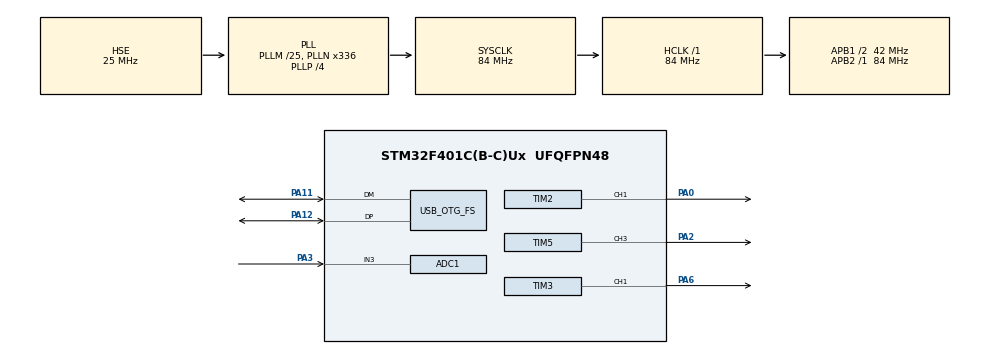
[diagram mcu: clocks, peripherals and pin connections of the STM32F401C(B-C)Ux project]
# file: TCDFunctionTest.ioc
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ADC1.Channel-0\#ChannelRegularConversion=ADC_CHANNEL_3
ADC1.DMAContinuousRequests=ENABLE
ADC1.ExternalTrigConv=ADC_EXTERNALTRIGCONV_T4_CC4
ADC1.NbrOfConversionFlag=1
ADC1.Rank-0\#ChannelRegularConversion=1
ADC1.SamplingTime-0\#ChannelRegularConversion=ADC_SAMPLETIME_3CYCLES
ADC1.master=1
Dma.ADC1.0.Direction=DMA_PERIPH_TO_MEMORY
Dma.ADC1.0.FIFOMode=DMA_FIFOMODE_DISABLE
Dma.ADC1.0.Instance=DMA2_Stream0
Dma.ADC1.0.MemDataAlignment=DMA_MDATAALIGN_HALFWORD
Dma.ADC1.0.MemInc=DMA_MINC_ENABLE
Dma.ADC1.0.Mode=DMA_NORMAL
Dma.ADC1.0.PeriphDataAlignment=DMA_PDATAALIGN_HALFWORD
Dma.ADC1.0.PeriphInc=DMA_PINC_DISABLE
Dma.ADC1.0.Priority=DMA_PRIORITY_LOW
Dma.Request0=ADC1
Mcu.Family=STM32F4
Mcu.Name=STM32F401C(B-C)Ux
Mcu.Package=UFQFPN48
NVIC.DMA2_Stream0_IRQn=true\:0\:0\:false\:false\:true\:false\:true\:true
NVIC.OTG_FS_IRQn=true\:0\:0\:false\:false\:true\:false\:true\:true
NVIC.PriorityGroup=NVIC_PRIORITYGROUP_4
NVIC.TIM2_IRQn=true\:0\:0\:false\:false\:true\:true\:true\:true
PA0-WKUP.Signal=S_TIM2_CH1_ETR
PA11.Mode=Device_Only
PA11.Signal=USB_OTG_FS_DM
PA12.Mode=Device_Only
PA12.Signal=USB_OTG_FS_DP
PA2.Signal=S_TIM5_CH3
PA3.Signal=ADCx_IN3
PA6.Signal=S_TIM3_CH1
PH0\ -\ OSC_IN.Mode=HSE-External-Oscillator
PH0\ -\ OSC_IN.Signal=RCC_OSC_IN
PH1\ -\ OSC_OUT.Mode=HSE-External-Oscillator
PH1\ -\ OSC_OUT.Signal=RCC_OSC_OUT
ProjectManager.HeapSize=0x200
ProjectManager.StackSize=0x400
ProjectManager.TargetToolchain=STM32CubeIDE
RCC.48MHZClocksFreq_Value=48000000
RCC.AHBFreq_Value=84000000
RCC.APB1CLKDivider=RCC_HCLK_DIV2
RCC.APB1Freq_Value=42000000
RCC.APB1TimFreq_Value=84000000
RCC.APB2Freq_Value=84000000
RCC.APB2TimFreq_Value=84000000
RCC.CortexFreq_Value=84000000
RCC.HCLKFreq_Value=84000000
RCC.HSE_VALUE=25000000
RCC.HSI_VALUE=16000000
RCC.LSE_VALUE=32768
RCC.PLLM=25
RCC.PLLN=336
RCC.PLLP=RCC_PLLP_DIV4
RCC.PLLQ=7
RCC.SYSCLKFreq_VALUE=84000000
RCC.SYSCLKSource=RCC_SYSCLKSOURCE_PLLCLK
RCC.VCOOutputFreq_Value=336000000
SH.ADCx_IN3.0=ADC1_IN3,IN3
SH.S_TIM2_CH1_ETR.0=TIM2_CH1,PWM Generation1 CH1
SH.S_TIM3_CH1.0=TIM3_CH1,PWM Generation1 CH1
SH.S_TIM5_CH3.0=TIM5_CH3,PWM Generation3 CH3
TIM2.Channel-PWM\ Generation1\ CH1=TIM_CHANNEL_1
TIM2.OCPolarity_1=TIM_OCPOLARITY_HIGH
TIM2.Period=525000-1
TIM2.Pulse-PWM\ Generation1\ CH1=8820-1
TIM2.TIM_MasterOutputTrigger=TIM_TRGO_ENABLE
TIM2.TIM_MasterSlaveMode=TIM_MASTERSLAVEMODE_ENABLE
TIM3.Channel-PWM\ Generation1\ CH1=TIM_CHANNEL_1
TIM3.Period=168-1
TIM3.Pulse-PWM\ Generation1\ CH1=84-1
TIM4.Channel-PWM\ Generation4\ No\ Output=TIM_CHANNEL_4
TIM4.Period=168-1
TIM4.Pulse-PWM\ Generation4\ No\ Output=42-1
TIM5.Channel-PWM\ Generation3\ CH3=TIM_CHANNEL_3
TIM5.OCPolarity_3=TIM_OCPOLARITY_LOW
TIM5.Period=525000-1
TIM5.Pulse-PWM\ Generation3\ CH3=8347-1
TIM5.TIM_MasterSlaveMode=TIM_MASTERSLAVEMODE_ENABLE
USB_DEVICE.CLASS_NAME_FS=CDC
USB_DEVICE.VirtualMode=Cdc
USB_DEVICE.VirtualModeFS=Cdc_FS
USB_OTG_FS.VirtualMode=Device_Only
VP_TIM2_VS_ClockSourceINT.Mode=Internal
VP_TIM3_VS_ClockSourceINT.Mode=Internal
VP_TIM4_VS_ClockSourceINT.Mode=Internal
VP_TIM4_VS_no_output4.Mode=PWM Generation4 No Output
VP_TIM5_VS_ClockSourceINT.Mode=Internal
VP_TIM5_VS_ClockSourceITR.Mode=TriggerSource_ITR0
VP_TIM5_VS_ControllerModeTrigger.Mode=Trigger Mode
VP_USB_DEVICE_VS_USB_DEVICE_CDC_FS.Mode=CDC_FS
board=custom

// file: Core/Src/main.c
/* USER CODE BEGIN Header */
/**
  ******************************************************************************
  * @file           : main.c
  * @brief          : Main program body
  ******************************************************************************
  * @attention
  *
  * Copyright (c) 2024 STMicroelectronics.
  * All rights reserved.
  *
  * This software is licensed under terms that can be found in the LICENSE file
  * in the root directory of this software component.
  * If no LICENSE file comes with this software, it is provided AS-IS.
  *
  ******************************************************************************
  */
/* USER CODE END Header */
#include "main.h"
#include "usb_device.h"

/* USER CODE BEGIN Includes */
#include "string.h"

/* USER CODE END Includes */

/* USER CODE BEGIN PD */
#define HEADER_SIZE 200//this is just a big enough number, to accomodate all the elements, will have to calculate the exact value later
#define FOOTER_SIZE 2 //this is not really needed but just added it for uniformity
#define CCD_PIXEL_BUFFER_SIZE (6000) // Adjust as needed for header, data, and footer

/* USER CODE END PD */

ADC_HandleTypeDef hadc1;
DMA_HandleTypeDef hdma_adc1;

TIM_HandleTypeDef htim2;
TIM_HandleTypeDef htim3;
TIM_HandleTypeDef htim4;
TIM_HandleTypeDef htim5;

/* USER CODE BEGIN PV */

// Global variables for header values, these are all from the image sent
char VersionNo[4] = "DCAM";
int MajorVersion = 1;
int FileFormatNo = 0;
int CustomizationNo = 1;
int CameraType = 1;  // Assuming 1: Line scanner camera
int DataInfo[5] = {0};  // {SizeX, SizeY, DataSet, DataByte}
int MeasureMode = 1;  // Assuming 1: Line Scanning Mode
int SheetData = 0;  // Assuming 0: Image data
int Profile = 1;  // Assuming 1: Show
char ScaleUnitChars[20] = "ADU";  // Default scale unit characters

//Test Buffer
uint16_t TestBuffer1[300] = {2387, 2151, 2067, 1324, 1056, 2498, 2401, 1869, 1786, 2388, 1785, 1758, 1449, 1496, 1499, 1029, 1707, 2099, 1147, 2440, 1925, 2357, 2081, 1354, 2088, 2023, 2342, 1083, 1418, 2465, 2103, 1068, 1324, 1242, 2147, 1934, 2451, 2318, 1143, 1005, 1295, 1554, 2060, 2497, 2244, 1067, 2118, 2070, 1558, 2298, 1332, 1405, 1235, 1349, 1295, 1643, 1274, 1005, 1617, 1329, 2177, 2066, 2150, 1655, 1459, 2080, 1860, 1848, 1527, 1496, 1626, 2251, 1762, 1955, 1166, 1831, 1066, 1192, 1966, 2180, 1322, 2465, 1515, 2353, 1626, 1934, 1986, 2034, 1030, 1749, 1625, 1993, 2296, 2243, 1363, 2259, 1000, 1351, 1276, 1411, 1233, 1119, 1795, 1919, 2191, 2232, 1575, 2364, 1569, 2058, 1805, 1583, 1703, 1476, 1979, 2076, 1211, 1425, 1688, 2329, 1343, 1656, 1890, 1675, 1692, 1568, 2234, 1121, 2415, 2177, 2205, 1808, 1475, 1223, 1575, 1713, 1372, 2247, 1565, 1867, 1665, 1860, 1675, 1447, 1927, 1041, 2211, 1335, 2287,
        1266, 1964, 2299, 1576, 1837, 2377, 1567, 1722, 1177, 1089, 1948, 2019, 1465, 2242, 1288, 2287, 2412, 1054, 1896, 1331, 1482, 1338, 1890, 1352, 1528, 1058, 1597, 1201, 2221, 1063, 1727, 1239, 1011, 1320, 1545, 1965, 1564, 2266, 1553, 2382, 2294, 1555, 1370, 1211, 1201, 1369, 1228, 1460, 1488, 2106, 1176, 1861, 1387, 1799, 1847, 1695, 2176, 2258, 1413, 2488, 2063, 1160, 1328, 2266, 2257, 1286, 2402, 1995, 1398, 1353, 1351, 1971, 1646, 2457, 1690, 2054, 2464, 1487, 1223, 2314, 2303, 1198, 2299, 2032, 2094, 1295, 2190, 2080, 2282, 2174, 2472, 2403, 2271, 1594, 1379, 1875, 1847, 1980, 1235, 1980, 1310, 1520, 2159, 2175, 1145, 1534, 1654, 1102, 2063, 2055, 1519, 1852, 1417, 1162, 2147, 1608, 2342, 1712, 1543, 1615, 1818, 1048, 2462, 1684, 2022, 1820, 1470, 1868, 1762, 2257, 1826, 1683, 1630, 1730, 1028, 1178, 1507, 1041, 1847, 1439, 1036, 2477, 2276, 1683, 2144, 2043, 1237, 1445, 2192, 2348, 1750};

uint16_t TestBuffer2[300] = {1097, 1785, 1266, 2192, 1686, 1095, 2440, 2194, 2311, 2031, 1371, 1921, 1276, 2123, 2225, 2135, 2284, 1833, 1943, 2343, 2426, 1091, 2320, 1119, 1763, 1409, 1062, 1258, 1448, 1732, 1134, 1139, 1883, 1719, 1229, 2039, 1448, 2227, 2240, 1490, 1965, 1029, 1459, 1956, 1986, 2250, 2317, 2095, 2401, 1315, 2311, 1793, 2373, 2114, 2039, 2455, 1673, 2339, 1271, 1235, 1217, 1766, 1046, 1968, 2286, 1819, 2268, 1734, 2378, 2194, 2360, 2114, 1907, 2055, 1680, 2089, 2400, 2058, 1278, 2181, 1416, 2353, 1049, 1811, 2151, 1267, 1707, 2036, 2412, 2385, 2172, 1266, 2024, 2444, 2144, 1900, 1085, 2290, 2154, 1154, 1402, 1916, 1597, 1675, 2390, 1231, 1384, 1607, 1022, 1308, 2153, 1852, 2429, 1974, 2072, 1599, 1521, 1919, 2436, 1956, 1008, 1356, 1036, 1435, 2225, 1914, 1602, 2318, 2195, 1950, 1639, 2172, 2208, 1161, 1731, 1765, 1636, 2379, 2355, 1491, 1405, 1974, 1335, 1907, 1997, 1773, 2293, 2374, 1668,
    2223, 1320, 2134, 1289, 1723, 2411, 2175, 1856, 1737, 1675, 1141, 1547, 1516, 1924, 1377, 1462, 1914, 1823, 2128, 1510, 1388, 2329, 1166, 1947, 1333, 2177, 1757, 1336, 1571, 1412, 1351, 2159, 1284, 1353, 2141, 2351, 2103, 1243, 1413, 1832, 1592, 2308, 1912, 2215, 1216, 1773, 2012, 2169, 2187, 1520, 1927, 1154, 2389, 1161, 2096, 1224, 2330, 1023, 1348, 2133, 1011, 1805, 1068, 1675, 2283, 1060, 1394, 1537, 1397, 2291, 1094, 1397, 2413, 1171, 1461, 2170, 1493, 1532, 1209, 1506, 1132, 1017, 1717, 1227, 1333, 1498, 1446, 1289, 1089, 1323, 1065, 2279, 2086, 1969, 2211, 1599, 1471, 2132, 2165, 1764, 1554, 1475, 2399, 2317, 1063, 2206, 1686, 2155, 1985, 1574, 2099, 1632, 1071, 1202, 1986, 1481, 1694, 1199, 1407, 2302, 2036, 1097, 1780, 2393, 2150, 1072, 1277, 1464, 1837, 1467, 1215, 1052, 2351, 1615, 1663, 1993, 1939, 2237, 1240, 1782, 1644, 2167, 1617, 1099, 1056, 1858, 2180, 1445, 1155, 2036, 2215};

uint16_t TestBuffer3[300] = {2319, 2225, 1960, 1253, 1731, 1797, 2408, 1608, 1322, 1301, 1230, 2370, 1410, 2095, 2243, 2071, 1511, 2274, 2269, 1112, 1138, 1359, 1511, 2291, 1618, 1373, 1809, 1305, 1957, 1716, 1353, 1012, 1014, 2166, 1882, 1236, 2010, 2205, 2282, 2155, 1255, 2315, 1444, 1292, 2327, 1180, 2494, 2175, 2396, 2069, 1626, 1829, 2454, 1805, 1030, 1933, 1365, 2087, 1502, 2388, 1928, 2095, 1769, 1976, 1679, 2000, 1779, 1749, 2348, 2251, 2402, 1151, 1891, 1163, 1327, 2223, 2060, 1248, 2336, 1006, 1005, 2315, 2358, 1001, 2433, 1620, 2133, 1726, 2093, 2097, 1280, 1241, 2218, 2379, 1784, 1892, 1320, 1100, 1968, 2353, 1185, 1272, 1243, 2365, 1750, 2058, 1310, 1329, 1415, 2176, 2397, 2453, 2099, 2245, 2217, 1361, 2047, 1091, 2175, 1005, 1437, 1317, 1652, 2157, 1422, 2087, 2316, 2426, 2130, 2220, 1808, 1618, 1171, 2158, 1385, 1850, 1628, 1159, 1574, 2455, 1475, 2303, 1425, 1395, 1724, 1440, 1999, 2001, 1408,
        1097, 1261, 2461, 2110, 1285, 2449, 2119, 2476, 2233, 1076, 1909, 1628, 1829, 1109, 1390, 1858, 1646, 1448, 2421, 2436, 2069, 2365, 2414, 1816, 1591, 1046, 1090, 2184, 2393, 2343, 2358, 1436, 1280, 1859, 1701, 1737, 1194, 1147, 1003, 2339, 2305, 1665, 1759, 1918, 1008, 1052, 2097, 2329, 1061, 1444, 1571, 1392, 1166, 1235, 1907, 1866, 2174, 1516, 1622, 1991, 2165, 1403, 2003, 1686, 2335, 2187, 1921, 2263, 2111, 1641, 2042, 2500, 2006, 1538, 2399, 2060, 2244, 1418, 1007, 2121, 2037, 1716, 1103, 2445, 2192, 1377, 1282, 1799, 1584, 1196, 2006, 1109, 2314, 1553, 1245, 1209, 1548, 1660, 2453, 1617, 1366, 1469, 1490, 2106, 2019, 2467, 1702, 1660, 1899, 1537, 2114, 1048, 1184, 1916, 1599, 1187, 1486, 2473, 2202, 1571, 1949, 1792, 1229, 1455, 1989, 1616, 1137, 2339, 2328, 1383, 1305, 2260, 2472, 2088, 2036, 1938, 1204, 1997, 1056, 2297, 1080, 1037, 1835, 2242, 2089, 1131, 2135, 1011, 1803, 1566, 1650};
// Buffers
char header[HEADER_SIZE];
char footer[FOOTER_SIZE];

volatile uint16_t CCDPixelBuffer[CCD_PIXEL_BUFFER_SIZE];
volatile uint16_t headertest[200];
//this is the variable to initiate the dma
volatile uint8_t start_command_received = 0;
volatile uint8_t continuous_enabled = 0;
int experiment = 1;

/* USER CODE END PV */

void SystemClock_Config(void);
static void MX_GPIO_Init(void);
static void MX_DMA_Init(void);
static void MX_TIM2_Init(void);
static void MX_TIM3_Init(void);
static void MX_TIM4_Init(void);
static void MX_TIM5_Init(void);
static void MX_ADC1_Init(void);
/* USER CODE BEGIN PFP */
void encodeData(uint16_t* data_buffer, uint32_t data_size);
void InitializeHeaderFooter();
void CDCReceiveCallback(uint8_t* Buf, uint32_t Len);
void HAL_ADC_ConvCpltCallback(ADC_HandleTypeDef* hadc);
void Configure_SH_Signal(uint32_t period, uint32_t pulse);
void Configure_ICG_Signal(uint32_t period, uint32_t pulse);
void Configure_MasterClock_Signal(uint32_t period, uint32_t pulse);
void CalculateAndSetIntegrationTime(uint32_t integration_time_us);

/* USER CODE END PFP */

int main(void)
{

  /* USER CODE BEGIN 1 */
	//all the main implementations are after line 547 and in the main function

  /* USER CODE END 1 */

  /* MCU Configuration--------------------------------------------------------*/

  /* Reset of all peripherals, Initializes the Flash interface and the Systick. */
  HAL_Init();

  /* USER CODE BEGIN Init */
  InitializeHeaderFooter();

  /* USER CODE END Init */

  /* Configure the system clock */
  SystemClock_Config();

  /* Initialize all configured peripherals */
  MX_GPIO_Init();
  MX_DMA_Init();
  MX_TIM2_Init();
  MX_TIM3_Init();
  MX_TIM4_Init();
  MX_TIM5_Init();
  MX_USB_DEVICE_Init();
  MX_ADC1_Init();
  /* USER CODE BEGIN 2 */
//  HAL_TIM_PWM_Start(&htim2, TIM_CHANNEL_1); //ICG
//  __HAL_TIM_SET_COUNTER(&htim2, 66);// 600ns delay
////  HAL_TIM_PWM_Start(&htim3, TIM_CHANNEL_1); //fM
//  HAL_TIM_PWM_Start(&htim4, TIM_CHANNEL_4); //ADC
//  HAL_TIM_PWM_Start(&htim5, TIM_CHANNEL_3); //SH

  if (!start_command_received) {
  CDC_Transmit_FS("Target Ready\r\n",14);
  HAL_Delay(1000);}

//  HAL_TIM_Base_Start_IT(&htim3);

  /* USER CODE END 2 */

  /* Infinite loop */
  while (1)
  {

  }
}

void SystemClock_Config(void)
{
  RCC_OscInitTypeDef RCC_OscInitStruct = {0};
  RCC_ClkInitTypeDef RCC_ClkInitStruct = {0};

  /** Configure the main internal regulator output voltage
  */
  __HAL_RCC_PWR_CLK_ENABLE();
  __HAL_PWR_VOLTAGESCALING_CONFIG(PWR_REGULATOR_VOLTAGE_SCALE2);

  /** Initializes the RCC Oscillators according to the specified parameters
  * in the RCC_OscInitTypeDef structure.
  */
  RCC_OscInitStruct.OscillatorType = RCC_OSCILLATORTYPE_HSE;
  RCC_OscInitStruct.HSEState = RCC_HSE_ON;
  RCC_OscInitStruct.PLL.PLLState = RCC_PLL_ON;
  RCC_OscInitStruct.PLL.PLLSource = RCC_PLLSOURCE_HSE;
  RCC_OscInitStruct.PLL.PLLM = 25;
  RCC_OscInitStruct.PLL.PLLN = 336;
  RCC_OscInitStruct.PLL.PLLP = RCC_PLLP_DIV4;
  RCC_OscInitStruct.PLL.PLLQ = 7;
  if (HAL_RCC_OscConfig(&RCC_OscInitStruct) != HAL_OK)
  {
    Error_Handler();
  }

  /** Initializes the CPU, AHB and APB buses clocks
  */
  RCC_ClkInitStruct.ClockType = RCC_CLOCKTYPE_HCLK|RCC_CLOCKTYPE_SYSCLK
                              |RCC_CLOCKTYPE_PCLK1|RCC_CLOCKTYPE_PCLK2;
  RCC_ClkInitStruct.SYSCLKSource = RCC_SYSCLKSOURCE_PLLCLK;
  RCC_ClkInitStruct.AHBCLKDivider = RCC_SYSCLK_DIV1;
  RCC_ClkInitStruct.APB1CLKDivider = RCC_HCLK_DIV2;
  RCC_ClkInitStruct.APB2CLKDivider = RCC_HCLK_DIV1;

  if (HAL_RCC_ClockConfig(&RCC_ClkInitStruct, FLASH_LATENCY_2) != HAL_OK)
  {
    Error_Handler();
  }
}

static void MX_ADC1_Init(void)
{

  ADC_ChannelConfTypeDef sConfig = {0};

  /** Configure the global features of the ADC (Clock, Resolution, Data Alignment and number of conversion)
  */
  hadc1.Instance = ADC1;
  hadc1.Init.ClockPrescaler = ADC_CLOCK_SYNC_PCLK_DIV4;
  hadc1.Init.Resolution = ADC_RESOLUTION_12B;
  hadc1.Init.ScanConvMode = DISABLE;
  hadc1.Init.ContinuousConvMode = DISABLE;
  hadc1.Init.DiscontinuousConvMode = DISABLE;
  hadc1.Init.ExternalTrigConvEdge = ADC_EXTERNALTRIGCONVEDGE_RISING;
  hadc1.Init.ExternalTrigConv = ADC_EXTERNALTRIGCONV_T4_CC4;
  hadc1.Init.DataAlign = ADC_DATAALIGN_RIGHT;
  hadc1.Init.NbrOfConversion = 1;
  hadc1.Init.DMAContinuousRequests = ENABLE;
  hadc1.Init.EOCSelection = ADC_EOC_SINGLE_CONV;
  if (HAL_ADC_Init(&hadc1) != HAL_OK)
  {
    Error_Handler();
  }

  /** Configure for the selected ADC regular channel its corresponding rank in the sequencer and its sample time.
  */
  sConfig.Channel = ADC_CHANNEL_3;
  sConfig.Rank = 1;
  sConfig.SamplingTime = ADC_SAMPLETIME_3CYCLES;
  if (HAL_ADC_ConfigChannel(&hadc1, &sConfig) != HAL_OK)
  {
    Error_Handler();
  }

}

static void MX_TIM2_Init(void)
{

  TIM_ClockConfigTypeDef sClockSourceConfig = {0};
  TIM_MasterConfigTypeDef sMasterConfig = {0};
  TIM_OC_InitTypeDef sConfigOC = {0};

  htim2.Instance = TIM2;
  htim2.Init.Prescaler = 0;
  htim2.Init.CounterMode = TIM_COUNTERMODE_UP;
  htim2.Init.Period = 525000-1;
  htim2.Init.ClockDivision = TIM_CLOCKDIVISION_DIV1;
  htim2.Init.AutoReloadPreload = TIM_AUTORELOAD_PRELOAD_DISABLE;
  if (HAL_TIM_Base_Init(&htim2) != HAL_OK)
  {
    Error_Handler();
  }
  sClockSourceConfig.ClockSource = TIM_CLOCKSOURCE_INTERNAL;
  if (HAL_TIM_ConfigClockSource(&htim2, &sClockSourceConfig) != HAL_OK)
  {
    Error_Handler();
  }
  if (HAL_TIM_PWM_Init(&htim2) != HAL_OK)
  {
    Error_Handler();
  }
  sMasterConfig.MasterOutputTrigger = TIM_TRGO_ENABLE;
  sMasterConfig.MasterSlaveMode = TIM_MASTERSLAVEMODE_ENABLE;
  if (HAL_TIMEx_MasterConfigSynchronization(&htim2, &sMasterConfig) != HAL_OK)
  {
    Error_Handler();
  }
  sConfigOC.OCMode = TIM_OCMODE_PWM1;
  sConfigOC.Pulse = 8820-1;
  sConfigOC.OCPolarity = TIM_OCPOLARITY_HIGH;
  sConfigOC.OCFastMode = TIM_OCFAST_DISABLE;
  if (HAL_TIM_PWM_ConfigChannel(&htim2, &sConfigOC, TIM_CHANNEL_1) != HAL_OK)
  {
    Error_Handler();
  }
  HAL_TIM_MspPostInit(&htim2);

}

static void MX_TIM3_Init(void)
{

  TIM_ClockConfigTypeDef sClockSourceConfig = {0};
  TIM_MasterConfigTypeDef sMasterConfig = {0};
  TIM_OC_InitTypeDef sConfigOC = {0};

  htim3.Instance = TIM3;
  htim3.Init.Prescaler = 0;
  htim3.Init.CounterMode = TIM_COUNTERMODE_UP;
  htim3.Init.Period = 168-1;
  htim3.Init.ClockDivision = TIM_CLOCKDIVISION_DIV1;
  htim3.Init.AutoReloadPreload = TIM_AUTORELOAD_PRELOAD_DISABLE;
  if (HAL_TIM_Base_Init(&htim3) != HAL_OK)
  {
    Error_Handler();
  }
  sClockSourceConfig.ClockSource = TIM_CLOCKSOURCE_INTERNAL;
  if (HAL_TIM_ConfigClockSource(&htim3, &sClockSourceConfig) != HAL_OK)
  {
    Error_Handler();
  }
  if (HAL_TIM_PWM_Init(&htim3) != HAL_OK)
  {
    Error_Handler();
  }
  sMasterConfig.MasterOutputTrigger = TIM_TRGO_RESET;
  sMasterConfig.MasterSlaveMode = TIM_MASTERSLAVEMODE_DISABLE;
  if (HAL_TIMEx_MasterConfigSynchronization(&htim3, &sMasterConfig) != HAL_OK)
  {
    Error_Handler();
  }
  sConfigOC.OCMode = TIM_OCMODE_PWM1;
  sConfigOC.Pulse = 84-1;
  sConfigOC.OCPolarity = TIM_OCPOLARITY_HIGH;
  sConfigOC.OCFastMode = TIM_OCFAST_DISABLE;
  if (HAL_TIM_PWM_ConfigChannel(&htim3, &sConfigOC, TIM_CHANNEL_1) != HAL_OK)
  {
    Error_Handler();
  }
  HAL_TIM_MspPostInit(&htim3);

}

static void MX_TIM4_Init(void)
{

  TIM_ClockConfigTypeDef sClockSourceConfig = {0};
  TIM_MasterConfigTypeDef sMasterConfig = {0};
  TIM_OC_InitTypeDef sConfigOC = {0};

  htim4.Instance = TIM4;
  htim4.Init.Prescaler = 0;
  htim4.Init.CounterMode = TIM_COUNTERMODE_UP;
  htim4.Init.Period = 168-1;
  htim4.Init.ClockDivision = TIM_CLOCKDIVISION_DIV1;
  htim4.Init.AutoReloadPreload = TIM_AUTORELOAD_PRELOAD_DISABLE;
  if (HAL_TIM_Base_Init(&htim4) != HAL_OK)
  {
    Error_Handler();
  }
  sClockSourceConfig.ClockSource = TIM_CLOCKSOURCE_INTERNAL;
  if (HAL_TIM_ConfigClockSource(&htim4, &sClockSourceConfig) != HAL_OK)
  {
    Error_Handler();
  }
  if (HAL_TIM_PWM_Init(&htim4) != HAL_OK)
  {
    Error_Handler();
  }
  sMasterConfig.MasterOutputTrigger = TIM_TRGO_RESET;
  sMasterConfig.MasterSlaveMode = TIM_MASTERSLAVEMODE_DISABLE;
  if (HAL_TIMEx_MasterConfigSynchronization(&htim4, &sMasterConfig) != HAL_OK)
  {
    Error_Handler();
  }
  sConfigOC.OCMode = TIM_OCMODE_PWM1;
  sConfigOC.Pulse = 42-1;
  sConfigOC.OCPolarity = TIM_OCPOLARITY_HIGH;
  sConfigOC.OCFastMode = TIM_OCFAST_DISABLE;
  if (HAL_TIM_PWM_ConfigChannel(&htim4, &sConfigOC, TIM_CHANNEL_4) != HAL_OK)
  {
    Error_Handler();
  }

}

static void MX_TIM5_Init(void)
{

  TIM_ClockConfigTypeDef sClockSourceConfig = {0};
  TIM_SlaveConfigTypeDef sSlaveConfig = {0};
  TIM_MasterConfigTypeDef sMasterConfig = {0};
  TIM_OC_InitTypeDef sConfigOC = {0};

  htim5.Instance = TIM5;
  htim5.Init.Prescaler = 0;
  htim5.Init.CounterMode = TIM_COUNTERMODE_UP;
  htim5.Init.Period = 525000-1;
  htim5.Init.ClockDivision = TIM_CLOCKDIVISION_DIV1;
  htim5.Init.AutoReloadPreload = TIM_AUTORELOAD_PRELOAD_DISABLE;
  if (HAL_TIM_Base_Init(&htim5) != HAL_OK)
  {
    Error_Handler();
  }
  sClockSourceConfig.ClockSource = TIM_CLOCKSOURCE_INTERNAL;
  if (HAL_TIM_ConfigClockSource(&htim5, &sClockSourceConfig) != HAL_OK)
  {
    Error_Handler();
  }
  if (HAL_TIM_PWM_Init(&htim5) != HAL_OK)
  {
    Error_Handler();
  }
  sSlaveConfig.SlaveMode = TIM_SLAVEMODE_TRIGGER;
  sSlaveConfig.InputTrigger = TIM_TS_ITR0;
  if (HAL_TIM_SlaveConfigSynchro(&htim5, &sSlaveConfig) != HAL_OK)
  {
    Error_Handler();
  }
  sMasterConfig.MasterOutputTrigger = TIM_TRGO_RESET;
  sMasterConfig.MasterSlaveMode = TIM_MASTERSLAVEMODE_ENABLE;
  if (HAL_TIMEx_MasterConfigSynchronization(&htim5, &sMasterConfig) != HAL_OK)
  {
    Error_Handler();
  }
  sConfigOC.OCMode = TIM_OCMODE_PWM1;
  sConfigOC.Pulse = 8347-1;
  sConfigOC.OCPolarity = TIM_OCPOLARITY_LOW;
  sConfigOC.OCFastMode = TIM_OCFAST_DISABLE;
  if (HAL_TIM_PWM_ConfigChannel(&htim5, &sConfigOC, TIM_CHANNEL_3) != HAL_OK)
  {
    Error_Handler();
  }
  HAL_TIM_MspPostInit(&htim5);

}

static void MX_DMA_Init(void)
{

  /* DMA controller clock enable */
  __HAL_RCC_DMA2_CLK_ENABLE();

  /* DMA interrupt init */
  /* DMA2_Stream0_IRQn interrupt configuration */
  HAL_NVIC_SetPriority(DMA2_Stream0_IRQn, 0, 0);
  HAL_NVIC_EnableIRQ(DMA2_Stream0_IRQn);

}

static void MX_GPIO_Init(void)
{

  /* GPIO Ports Clock Enable */
  __HAL_RCC_GPIOH_CLK_ENABLE();
  __HAL_RCC_GPIOA_CLK_ENABLE();

}

/* USER CODE BEGIN 4 */

//when the stm receives anything, it checks if it is the string start

void CDCReceiveCallback(uint8_t* Buf, uint32_t Len) {
    // Ensure the buffer is null-terminated
    Buf[Len] = '\0';

    // Check for the "start" command
    if (strncmp((char*)Buf, "start", 5) == 0) {
    	CDC_Transmit_FS((uint8_t*)TestBuffer, 600);
    }
}

void CalculateAndSetIntegrationTime(uint32_t integration_time_us) {
    // Calculate the SH period (T_SH) in timer ticks
    uint32_t T_SH_ticks = (84 * integration_time_us);  // Convert microseconds to timer ticks

    // Minimum SH pulse width is 1 µs, which translates to 84 timer ticks at 84 MHz
    uint32_t SH_pulse_ticks = 84;

    // Configure the SH signal with the calculated period and pulse width
    Configure_SH_Signal(T_SH_ticks, SH_pulse_ticks);
}

void InitializeHeaderFooter(void) {
    // Construct the header
    snprintf(header, HEADER_SIZE,
        "Version: %s\nMajor: %d\nFileFormat: %d\nCustomization: %d\nCameraType: %d\n"
        "SizeX: %d\nSizeY: %d\nDataSet: %d\nDataByte: %d\nMeasureMode: %d\nSheetData: %d\n"
        "Profile: %d\nScaleUnit: %s\n",
        VersionNo, MajorVersion, FileFormatNo, CustomizationNo, CameraType,
        DataInfo[0], DataInfo[1], DataInfo[2], DataInfo[3],
        MeasureMode, SheetData, Profile, ScaleUnitChars);

    // Construct the footer (this example just uses a simple footer, customize as needed)
    snprintf(footer, FOOTER_SIZE, "\n");
}

// Function to shift data and add header and footer
void encodeData(uint16_t* data_buffer, uint32_t data_size) {

	// Copy the header to the start of the buffer
	    memcpy((void*)CCDPixelBuffer, (const void*)header, HEADER_SIZE);

	    // Copy the footer to the end of the data
	    memcpy((void*)&CCDPixelBuffer[CCD_PIXEL_BUFFER_SIZE - FOOTER_SIZE], (const void*)footer, FOOTER_SIZE);
}

void Configure_SH_Signal(uint32_t period, uint32_t pulse) {
	HAL_TIM_PWM_Stop(&htim5, TIM_CHANNEL_3);
	HAL_TIM_PWM_Stop(&htim2, TIM_CHANNEL_1);
	HAL_TIM_PWM_Stop(&htim3, TIM_CHANNEL_1);
    TIM_OC_InitTypeDef sConfigOC = {0};

    htim5.Init.Prescaler = 1-1;
    htim5.Init.CounterMode = TIM_COUNTERMODE_UP;
    htim5.Init.Period = period-1;
    htim5.Init.ClockDivision = TIM_CLOCKDIVISION_DIV1;
    htim5.Init.AutoReloadPreload = TIM_AUTORELOAD_PRELOAD_DISABLE;
    if (HAL_TIM_PWM_Init(&htim5) != HAL_OK) {
        // Initialization Error
        Error_Handler();
    }

    sConfigOC.OCMode = TIM_OCMODE_PWM1;
    sConfigOC.Pulse = pulse;
    sConfigOC.OCPolarity = TIM_OCPOLARITY_HIGH;
    sConfigOC.OCFastMode = TIM_OCFAST_DISABLE;
    if (HAL_TIM_PWM_ConfigChannel(&htim5, &sConfigOC, TIM_CHANNEL_3) != HAL_OK) {
        // Configuration Error
        Error_Handler();
    }

    HAL_TIM_PWM_Start(&htim2, TIM_CHANNEL_1); //ICG
    __HAL_TIM_SET_COUNTER(&htim2, 66);// 600ns delay
    HAL_TIM_PWM_Start(&htim3, TIM_CHANNEL_1); //fM
    HAL_TIM_PWM_Start(&htim5, TIM_CHANNEL_3); //SH
}

void Configure_ICG_Signal(uint32_t period, uint32_t pulse) {
	HAL_TIM_PWM_Stop(&htim5, TIM_CHANNEL_3);
	HAL_TIM_PWM_Stop(&htim2, TIM_CHANNEL_1);
	HAL_TIM_PWM_Stop(&htim3, TIM_CHANNEL_1);
    TIM_OC_InitTypeDef sConfigOC = {0};

    htim2.Init.Prescaler = 1-1;
    htim2.Init.CounterMode = TIM_COUNTERMODE_UP;
    htim2.Init.Period = period-1;
    htim2.Init.ClockDivision = TIM_CLOCKDIVISION_DIV1;
    htim2.Init.AutoReloadPreload = TIM_AUTORELOAD_PRELOAD_DISABLE;
    if (HAL_TIM_PWM_Init(&htim2) != HAL_OK) {
        // Initialization Error
        Error_Handler();
    }

    sConfigOC.OCMode = TIM_OCMODE_PWM1;
    sConfigOC.Pulse = pulse;
    sConfigOC.OCPolarity = TIM_OCPOLARITY_HIGH;
    sConfigOC.OCFastMode = TIM_OCFAST_DISABLE;
    if (HAL_TIM_PWM_ConfigChannel(&htim2, &sConfigOC, TIM_CHANNEL_1) != HAL_OK) {
        // Configuration Error
        Error_Handler();
    }

    HAL_TIM_PWM_Start(&htim2, TIM_CHANNEL_1); //ICG
    __HAL_TIM_SET_COUNTER(&htim2, 66);// 600ns delay
    HAL_TIM_PWM_Start(&htim3, TIM_CHANNEL_1); //fM
    HAL_TIM_PWM_Start(&htim5, TIM_CHANNEL_3); //SH
}

void Configure_MasterClock_Signal(uint32_t period, uint32_t pulse) {
	HAL_TIM_PWM_Stop(&htim5, TIM_CHANNEL_3);
	HAL_TIM_PWM_Stop(&htim2, TIM_CHANNEL_1);
	HAL_TIM_PWM_Stop(&htim3, TIM_CHANNEL_1);
    TIM_OC_InitTypeDef sConfigOC = {0};

    htim3.Init.Prescaler = 1-1;
    htim3.Init.CounterMode = TIM_COUNTERMODE_UP;
    htim3.Init.Period = period-1;
    htim3.Init.ClockDivision = TIM_CLOCKDIVISION_DIV1;
    htim3.Init.AutoReloadPreload = TIM_AUTORELOAD_PRELOAD_DISABLE;
    if (HAL_TIM_PWM_Init(&htim3) != HAL_OK) {
        // Initialization Error
        Error_Handler();
    }

    sConfigOC.OCMode = TIM_OCMODE_PWM1;
    sConfigOC.Pulse = pulse;
    sConfigOC.OCPolarity = TIM_OCPOLARITY_HIGH;
    sConfigOC.OCFastMode = TIM_OCFAST_DISABLE;
    if (HAL_TIM_PWM_ConfigChannel(&htim3, &sConfigOC, TIM_CHANNEL_1) != HAL_OK) {
        // Configuration Error
        Error_Handler();
    }

    HAL_TIM_PWM_Start(&htim2, TIM_CHANNEL_1); //ICG
    __HAL_TIM_SET_COUNTER(&htim2, 66);// 600ns delay
    HAL_TIM_PWM_Start(&htim3, TIM_CHANNEL_1); //fM
    HAL_TIM_PWM_Start(&htim5, TIM_CHANNEL_3); //SH
}

/* USER CODE END 4 */

void Error_Handler(void)
{
  __disable_irq();
  while (1)
  {
  }
}
